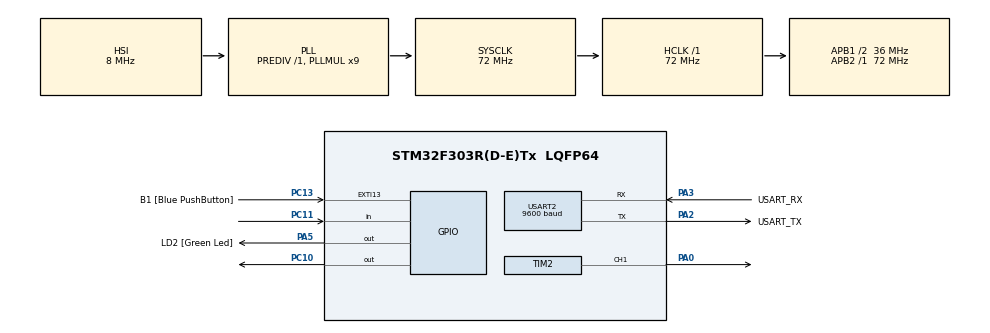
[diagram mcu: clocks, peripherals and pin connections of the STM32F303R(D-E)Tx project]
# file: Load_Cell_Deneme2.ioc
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Mcu.Family=STM32F3
Mcu.Name=STM32F303R(D-E)Tx
Mcu.Package=LQFP64
NVIC.EXTI15_10_IRQn=true\:0\:0\:false\:false\:true\:true\:true
NVIC.PriorityGroup=NVIC_PRIORITYGROUP_0
PA0.Signal=S_TIM2_CH1_ETR
PA13.GPIO_Label=TMS
PA13.Mode=Serial_Wire
PA13.Signal=SYS_JTMS-SWDIO
PA14.GPIO_Label=TCK
PA14.Mode=Serial_Wire
PA14.Signal=SYS_JTCK-SWCLK
PA2.GPIO_Label=USART_TX
PA2.GPIO_Mode=GPIO_MODE_AF_PP
PA2.GPIO_PuPd=GPIO_NOPULL
PA2.GPIO_Speed=GPIO_SPEED_FREQ_LOW
PA2.Mode=Asynchronous
PA2.Signal=USART2_TX
PA3.GPIO_Label=USART_RX
PA3.GPIO_Mode=GPIO_MODE_AF_PP
PA3.GPIO_PuPd=GPIO_NOPULL
PA3.GPIO_Speed=GPIO_SPEED_FREQ_LOW
PA3.Mode=Asynchronous
PA3.Signal=USART2_RX
PA5.GPIO_Label=LD2 [Green Led]
PA5.GPIO_Mode=GPIO_MODE_OUTPUT_PP
PA5.GPIO_PuPd=GPIO_NOPULL
PA5.GPIO_Speed=GPIO_SPEED_FREQ_LOW
PA5.Signal=GPIO_Output
PB3.GPIO_Label=SWO
PB3.Signal=SYS_JTDO-TRACESWO
PC10.Signal=GPIO_Output
PC11.GPIO_PuPd=GPIO_PULLUP
PC11.Signal=GPIO_Input
PC13.GPIO_Label=B1 [Blue PushButton]
PC13.GPIO_ModeDefaultEXTI=GPIO_MODE_IT_FALLING
PC13.GPIO_PuPd=GPIO_PULLDOWN
PC13.Signal=GPXTI13
PC14-OSC32_IN.Mode=LSE-External-Oscillator
PC14-OSC32_IN.Signal=RCC_OSC32_IN
PC15-OSC32_OUT.Mode=LSE-External-Oscillator
PC15-OSC32_OUT.Signal=RCC_OSC32_OUT
PF0-OSC_IN.Mode=HSE-External-Clock-Source
PF0-OSC_IN.Signal=RCC_OSC_IN
PF1-OSC_OUT.Signal=RCC_OSC_OUT
ProjectManager.HeapSize=0x200
ProjectManager.StackSize=0x400
ProjectManager.TargetToolchain=STM32CubeIDE
RCC.AHBFreq_Value=72000000
RCC.APB1CLKDivider=RCC_HCLK_DIV2
RCC.APB1Freq_Value=36000000
RCC.APB1TimFreq_Value=72000000
RCC.APB2Freq_Value=72000000
RCC.APB2TimFreq_Value=72000000
RCC.CortexFreq_Value=72000000
RCC.HCLKFreq_Value=72000000
RCC.HSE_VALUE=8000000
RCC.HSI_VALUE=8000000
RCC.PLLM=8
RCC.PLLMUL=RCC_PLL_MUL9
RCC.PLLN=336
RCC.PLLP=RCC_PLLP_DIV4
RCC.PLLQ=7
RCC.RCC_PLLsource_Clock_Source_FROM_HSE=RCC_HSE_PREDIV_DIV2
RCC.SYSCLKFreq_VALUE=72000000
RCC.SYSCLKSourceVirtual=RCC_SYSCLKSOURCE_PLLCLK
RCC.USBFreq_Value=72000000
SH.S_TIM2_CH1_ETR.0=TIM2_CH1,PWM Generation1 CH1
TIM2.Channel-PWM\ Generation1\ CH1=TIM_CHANNEL_1
TIM2.Period=1000
TIM2.Prescaler=1440-1
USART2.BaudRate=9600
USART2.VirtualMode-Asynchronous=VM_ASYNC
VP_TIM2_VS_ClockSourceINT.Mode=Internal
board=NUCLEO-F303RE

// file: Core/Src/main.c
/* USER CODE BEGIN Header */
/**
  ******************************************************************************
  * @file           : main.c
  * @brief          : Main program body
  ******************************************************************************
  * @attention
  *
  * <h2><center>&copy; Copyright (c) 2020 STMicroelectronics.
  * All rights reserved.</center></h2>
  *
  * This software component is licensed by ST under BSD 3-Clause license,
  * the "License"; You may not use this file except in compliance with the
  * License. You may obtain a copy of the License at:
  *                        opensource.org/licenses/BSD-3-Clause
  *
  ******************************************************************************
  */
/* USER CODE END Header */
#include "main.h"

/* USER CODE BEGIN Includes */
int buffer;
uint16_t data[20];
double firstWeight = 0,SecondWeight = 0;
long HX711_Buffer = 0;
#define Average 0.0008928571428571429
float Weight= 0;
uint32_t firstData =0;
uint32_t SecondData = 0;
uint8_t count=0;
uint16_t fark = 0;
uint8_t control = 0;
/* USER CODE END Includes */

/* USER CODE BEGIN PTD */
void Data1Calculation();
void Data2Calculation();
/* USER CODE END PTD */

TIM_HandleTypeDef htim2;

UART_HandleTypeDef huart2;

void SystemClock_Config(void);
static void MX_GPIO_Init(void);
static void MX_USART2_UART_Init(void);
static void MX_TIM2_Init(void);

/* USER CODE BEGIN 0 */
void HAL_GPIO_EXTI_Callback(uint16_t GPIO_Pin)
{
	count++;
	if(control == 1)
	{
		count = 2;
	}

}
unsigned long Hx711_Value()
{
	buffer = 0;

		      while (HAL_GPIO_ReadPin(GPIOC, GPIO_PIN_11)==1)
		      ;

		      for (uint8_t i = 0; i < 24; i++)
		      {

		      	HAL_GPIO_WritePin(GPIOC, GPIO_PIN_10, GPIO_PIN_SET);

		          buffer = buffer << 1 ;

		          if (HAL_GPIO_ReadPin(GPIOC, GPIO_PIN_11))
		          {
		              buffer++;

		          }

		          HAL_GPIO_WritePin(GPIOC, GPIO_PIN_10, GPIO_PIN_RESET);
		      }

		      for (int i = 0; i < 128; i++)
		      {
		      	HAL_GPIO_WritePin(GPIOC, GPIO_PIN_10, GPIO_PIN_SET);
		      	HAL_GPIO_WritePin(GPIOC, GPIO_PIN_10, GPIO_PIN_RESET);
		      }

		      buffer = buffer^0x800000;

		      return buffer;
}
void Get_Maopi()
{
    firstWeight = Hx711_Value();
}
long Get_Weight()
{
    HX711_Buffer = Hx711_Value();
    SecondWeight = HX711_Buffer;
    SecondWeight = SecondWeight-firstWeight; //Get the actual AD sampling value.
    SecondWeight = (long)((float)SecondWeight*Average);
    return SecondWeight;
}

/* USER CODE END 0 */

int main(void)
{

  /* MCU Configuration--------------------------------------------------------*/

  /* Reset of all peripherals, Initializes the Flash interface and the Systick. */
  HAL_Init();

  /* Configure the system clock */
  SystemClock_Config();

  /* Initialize all configured peripherals */
  MX_GPIO_Init();
  MX_USART2_UART_Init();
  MX_TIM2_Init();
  /* USER CODE BEGIN 2 */
  HAL_TIM_PWM_Start(&htim2, TIM_CHANNEL_1);
  Get_Maopi();

  /* USER CODE END 2 */

  /* Infinite loop */
  while (1)
  {

    /* USER CODE BEGIN 3 */
	  if(count == 1 && control == 0)
	  		  {
	  			  Data1Calculation();
	  			  count = 0;
	  			  control++;
	  		  }
	  		  if(count == 2 && control == 1)
	  		  {
	  			  Data2Calculation();
	  			  count = 0;
	  			  control = 0;
	  		  }

  }
  /* USER CODE END 3 */
}
void Data1Calculation()
{
	htim2.Instance->CCR1 = 180;
	HAL_Delay(1000);
	Weight = Get_Weight();
	firstData = fabs(Weight);
	HAL_UART_Transmit(&huart2, (uint8_t*)data,sprintf(data, "{i:1,baslangic:%d} \n",firstData), 100);
}
void Data2Calculation()
{
	HAL_Delay(1000);
	htim2.Instance->CCR1 = 0;
	Weight = Get_Weight();
	SecondData = fabs(Weight);
	fark = SecondData-firstData;
	HAL_UART_Transmit(&huart2, (uint8_t*)data,sprintf(data, "{i:2,baslangic:%d,bitis:%d,fark:%d} \n ",firstData,SecondData,fark), 100);
}
void SystemClock_Config(void)
{
  RCC_OscInitTypeDef RCC_OscInitStruct = {0};
  RCC_ClkInitTypeDef RCC_ClkInitStruct = {0};
  RCC_PeriphCLKInitTypeDef PeriphClkInit = {0};

  /** Initializes the RCC Oscillators according to the specified parameters
  * in the RCC_OscInitTypeDef structure.
  */
  RCC_OscInitStruct.OscillatorType = RCC_OSCILLATORTYPE_HSI;
  RCC_OscInitStruct.HSIState = RCC_HSI_ON;
  RCC_OscInitStruct.HSICalibrationValue = RCC_HSICALIBRATION_DEFAULT;
  RCC_OscInitStruct.PLL.PLLState = RCC_PLL_ON;
  RCC_OscInitStruct.PLL.PLLSource = RCC_PLLSOURCE_HSI;
  RCC_OscInitStruct.PLL.PLLMUL = RCC_PLL_MUL9;
  RCC_OscInitStruct.PLL.PREDIV = RCC_PREDIV_DIV1;
  if (HAL_RCC_OscConfig(&RCC_OscInitStruct) != HAL_OK)
  {
    Error_Handler();
  }
  /** Initializes the CPU, AHB and APB buses clocks
  */
  RCC_ClkInitStruct.ClockType = RCC_CLOCKTYPE_HCLK|RCC_CLOCKTYPE_SYSCLK
                              |RCC_CLOCKTYPE_PCLK1|RCC_CLOCKTYPE_PCLK2;
  RCC_ClkInitStruct.SYSCLKSource = RCC_SYSCLKSOURCE_PLLCLK;
  RCC_ClkInitStruct.AHBCLKDivider = RCC_SYSCLK_DIV1;
  RCC_ClkInitStruct.APB1CLKDivider = RCC_HCLK_DIV2;
  RCC_ClkInitStruct.APB2CLKDivider = RCC_HCLK_DIV1;

  if (HAL_RCC_ClockConfig(&RCC_ClkInitStruct, FLASH_LATENCY_2) != HAL_OK)
  {
    Error_Handler();
  }
  PeriphClkInit.PeriphClockSelection = RCC_PERIPHCLK_USART2|RCC_PERIPHCLK_TIM2;
  PeriphClkInit.Usart2ClockSelection = RCC_USART2CLKSOURCE_PCLK1;
  PeriphClkInit.Tim2ClockSelection = RCC_TIM2CLK_HCLK;
  if (HAL_RCCEx_PeriphCLKConfig(&PeriphClkInit) != HAL_OK)
  {
    Error_Handler();
  }
}

static void MX_TIM2_Init(void)
{

  TIM_ClockConfigTypeDef sClockSourceConfig = {0};
  TIM_MasterConfigTypeDef sMasterConfig = {0};
  TIM_OC_InitTypeDef sConfigOC = {0};

  htim2.Instance = TIM2;
  htim2.Init.Prescaler = 1440-1;
  htim2.Init.CounterMode = TIM_COUNTERMODE_UP;
  htim2.Init.Period = 1000;
  htim2.Init.ClockDivision = TIM_CLOCKDIVISION_DIV1;
  htim2.Init.AutoReloadPreload = TIM_AUTORELOAD_PRELOAD_DISABLE;
  if (HAL_TIM_Base_Init(&htim2) != HAL_OK)
  {
    Error_Handler();
  }
  sClockSourceConfig.ClockSource = TIM_CLOCKSOURCE_INTERNAL;
  if (HAL_TIM_ConfigClockSource(&htim2, &sClockSourceConfig) != HAL_OK)
  {
    Error_Handler();
  }
  if (HAL_TIM_PWM_Init(&htim2) != HAL_OK)
  {
    Error_Handler();
  }
  sMasterConfig.MasterOutputTrigger = TIM_TRGO_RESET;
  sMasterConfig.MasterSlaveMode = TIM_MASTERSLAVEMODE_DISABLE;
  if (HAL_TIMEx_MasterConfigSynchronization(&htim2, &sMasterConfig) != HAL_OK)
  {
    Error_Handler();
  }
  sConfigOC.OCMode = TIM_OCMODE_PWM1;
  sConfigOC.Pulse = 0;
  sConfigOC.OCPolarity = TIM_OCPOLARITY_HIGH;
  sConfigOC.OCFastMode = TIM_OCFAST_DISABLE;
  if (HAL_TIM_PWM_ConfigChannel(&htim2, &sConfigOC, TIM_CHANNEL_1) != HAL_OK)
  {
    Error_Handler();
  }
  HAL_TIM_MspPostInit(&htim2);

}

static void MX_USART2_UART_Init(void)
{

  huart2.Instance = USART2;
  huart2.Init.BaudRate = 9600;
  huart2.Init.WordLength = UART_WORDLENGTH_8B;
  huart2.Init.StopBits = UART_STOPBITS_1;
  huart2.Init.Parity = UART_PARITY_NONE;
  huart2.Init.Mode = UART_MODE_TX_RX;
  huart2.Init.HwFlowCtl = UART_HWCONTROL_NONE;
  huart2.Init.OverSampling = UART_OVERSAMPLING_16;
  huart2.Init.OneBitSampling = UART_ONE_BIT_SAMPLE_DISABLE;
  huart2.AdvancedInit.AdvFeatureInit = UART_ADVFEATURE_NO_INIT;
  if (HAL_UART_Init(&huart2) != HAL_OK)
  {
    Error_Handler();
  }

}

static void MX_GPIO_Init(void)
{
  GPIO_InitTypeDef GPIO_InitStruct = {0};

  /* GPIO Ports Clock Enable */
  __HAL_RCC_GPIOC_CLK_ENABLE();
  __HAL_RCC_GPIOF_CLK_ENABLE();
  __HAL_RCC_GPIOA_CLK_ENABLE();
  __HAL_RCC_GPIOB_CLK_ENABLE();

  /*Configure GPIO pin Output Level */
  HAL_GPIO_WritePin(LD2_GPIO_Port, LD2_Pin, GPIO_PIN_RESET);

  /*Configure GPIO pin Output Level */
  HAL_GPIO_WritePin(GPIOC, GPIO_PIN_10, GPIO_PIN_RESET);

  /*Configure GPIO pin : B1_Pin */
  GPIO_InitStruct.Pin = B1_Pin;
  GPIO_InitStruct.Mode = GPIO_MODE_IT_FALLING;
  GPIO_InitStruct.Pull = GPIO_PULLDOWN;
  HAL_GPIO_Init(B1_GPIO_Port, &GPIO_InitStruct);

  /*Configure GPIO pin : LD2_Pin */
  GPIO_InitStruct.Pin = LD2_Pin;
  GPIO_InitStruct.Mode = GPIO_MODE_OUTPUT_PP;
  GPIO_InitStruct.Pull = GPIO_NOPULL;
  GPIO_InitStruct.Speed = GPIO_SPEED_FREQ_LOW;
  HAL_GPIO_Init(LD2_GPIO_Port, &GPIO_InitStruct);

  /*Configure GPIO pin : PC10 */
  GPIO_InitStruct.Pin = GPIO_PIN_10;
  GPIO_InitStruct.Mode = GPIO_MODE_OUTPUT_PP;
  GPIO_InitStruct.Pull = GPIO_NOPULL;
  GPIO_InitStruct.Speed = GPIO_SPEED_FREQ_LOW;
  HAL_GPIO_Init(GPIOC, &GPIO_InitStruct);

  /*Configure GPIO pin : PC11 */
  GPIO_InitStruct.Pin = GPIO_PIN_11;
  GPIO_InitStruct.Mode = GPIO_MODE_INPUT;
  GPIO_InitStruct.Pull = GPIO_PULLUP;
  HAL_GPIO_Init(GPIOC, &GPIO_InitStruct);

  /* EXTI interrupt init*/
  HAL_NVIC_SetPriority(EXTI15_10_IRQn, 0, 0);
  HAL_NVIC_EnableIRQ(EXTI15_10_IRQn);

}

void Error_Handler(void)
{
}

/************************ (C) COPYRIGHT STMicroelectronics *****END OF FILE****/
